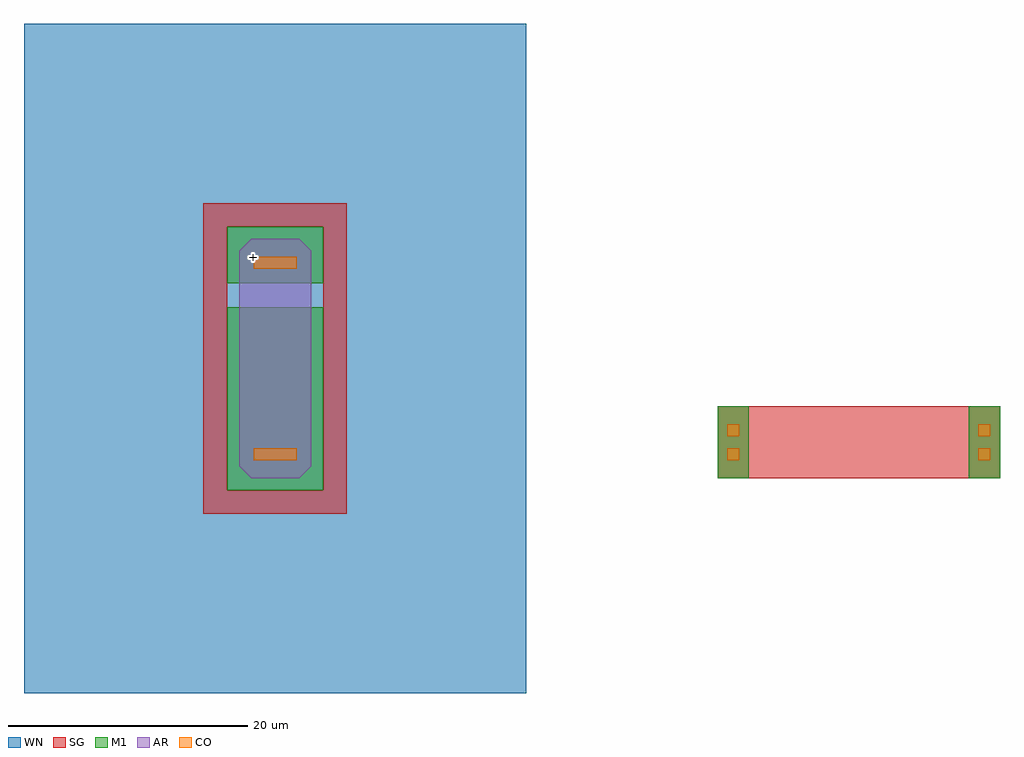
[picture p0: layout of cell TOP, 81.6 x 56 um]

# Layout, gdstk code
import gdstk
lib = gdstk.Library(unit=1e-6, precision=1e-09)
def R(c, l, rs):  # rectangles x0, y0, x1, y1
    for r in rs: c.add(gdstk.rectangle(r[:2], r[2:], *l))
def P(c, l, *ps):  # polygons
    for p in ps: c.add(gdstk.Polygon(p, *l))
AR = (3, 3)
SG = (8, 0)
CO = (11, 0)
M1 = (13, 0)
WN = (140, 0)

top = lib.new_cell('TOP')
P(top, AR, [(1,0),(0,1),(0,19),(1,20),(5,20),(6,19),(6,1),(5,0)])
R(top, SG, [(40,0,63.6,6)])
R(top, CO, [(1.2,1.5,4.8,2.5), (40.8,1.5,41.8,2.5), (61.8,1.5,62.8,2.5), (40.8,3.5,41.8,4.5), (61.8,3.5,62.8,4.5), (1.2,17.5,4.8,18.5)])
R(top, M1, [(-1,-1,7,14.3), (40,0,42.6,6), (61,0,63.6,6), (-1,16.3,7,21)])
R(top, WN, [(-18,-18,24,38)])
top.add(gdstk.FlexPath([(-3,-2),(8,-2),(8,22),(-2,22),(-2,-1)], 2, ends="flush", simple_path=True, layer=8, datatype=0))  # SG
top.add(gdstk.Label('+', (1.2,18.5), layer=11, texttype=0))

lib.write_gds('TOP.gds')
